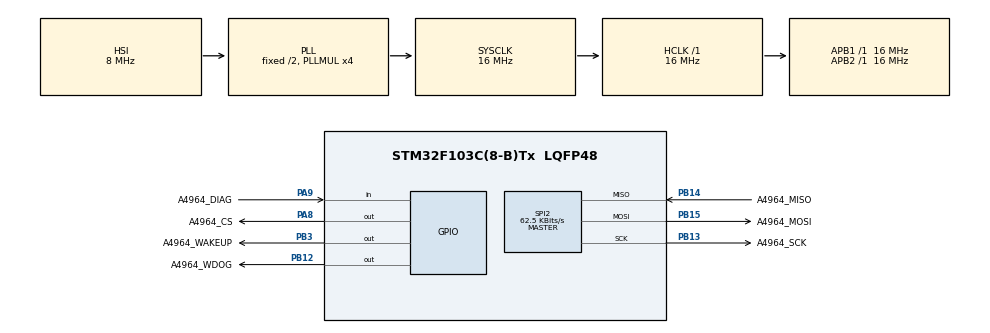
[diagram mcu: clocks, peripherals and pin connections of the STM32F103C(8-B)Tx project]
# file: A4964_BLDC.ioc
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Mcu.Family=STM32F1
Mcu.Name=STM32F103C(8-B)Tx
Mcu.Package=LQFP48
NVIC.PriorityGroup=NVIC_PRIORITYGROUP_4
PA13.Mode=Serial_Wire
PA13.Signal=SYS_JTMS-SWDIO
PA14.Mode=Serial_Wire
PA14.Signal=SYS_JTCK-SWCLK
PA8.GPIO_Label=A4964_CS
PA8.Signal=GPIO_Output
PA9.GPIO_Label=A4964_DIAG
PA9.Signal=GPIO_Input
PB12.GPIO_Label=A4964_WDOG
PB12.Signal=GPIO_Output
PB13.GPIO_Label=A4964_SCK
PB13.Mode=Full_Duplex_Master
PB13.Signal=SPI2_SCK
PB14.GPIO_Label=A4964_MISO
PB14.GPIO_PuPd=GPIO_PULLUP
PB14.Mode=Full_Duplex_Master
PB14.Signal=SPI2_MISO
PB15.GPIO_Label=A4964_MOSI
PB15.Mode=Full_Duplex_Master
PB15.Signal=SPI2_MOSI
PB3.GPIO_Label=A4964_WAKEUP
PB3.Signal=GPIO_Output
ProjectManager.HeapSize=0x200
ProjectManager.StackSize=0x400
ProjectManager.TargetToolchain=STM32CubeIDE
RCC.AHBFreq_Value=16000000
RCC.APB1Freq_Value=16000000
RCC.APB1TimFreq_Value=16000000
RCC.APB2Freq_Value=16000000
RCC.APB2TimFreq_Value=16000000
RCC.HCLKFreq_Value=16000000
RCC.PLLMUL=RCC_PLL_MUL4
RCC.SYSCLKFreq_VALUE=16000000
RCC.SYSCLKSource=RCC_SYSCLKSOURCE_PLLCLK
RCC.USBFreq_Value=16000000
SPI2.BaudRatePrescaler=SPI_BAUDRATEPRESCALER_256
SPI2.CLKPhase=SPI_PHASE_2EDGE
SPI2.CLKPolarity=SPI_POLARITY_HIGH
SPI2.CRCCalculation=SPI_CRCCALCULATION_DISABLE
SPI2.CalculateBaudRate=62.5 KBits/s
SPI2.DataSize=SPI_DATASIZE_16BIT
SPI2.Direction=SPI_DIRECTION_2LINES
SPI2.Mode=SPI_MODE_MASTER
SPI2.VirtualType=VM_MASTER
board=custom

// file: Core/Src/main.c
/* USER CODE BEGIN Header */
/**
  ******************************************************************************
  * @file           : main.c
  * @brief          : Main program body
  ******************************************************************************
  * @attention
  *
  * Copyright (c) 2025 STMicroelectronics.
  * All rights reserved.
  *
  * This software is licensed under terms that can be found in the LICENSE file
  * in the root directory of this software component.
  * If no LICENSE file comes with this software, it is provided AS-IS.
  *
  ******************************************************************************
  */
/* USER CODE END Header */
#include "main.h"

/* USER CODE BEGIN Includes */

#include "A4964.h"
/* USER CODE END Includes */

SPI_HandleTypeDef hspi2;

/* USER CODE BEGIN PV */
uint32_t rbs_diagnostic;
uint32_t rbs_motor_speed;
uint32_t rbs_current;
uint32_t rbs_voltage;
uint32_t rbs_temperature;
uint32_t rbs_demand_input;
uint32_t rbs_peak_duty;
uint32_t rbs_phase_adv;
/* USER CODE END PV */

void SystemClock_Config(void);
static void MX_GPIO_Init(void);
static void MX_SPI2_Init(void);

/* USER CODE BEGIN 0 */

// Definition of the 29:Readback Select registers as a complete write command.
#define REG_RBS_AMP ((uint16_t) 0b1110110000000101)   // RBS[2:0] [ 010 ] Avr. supply current
#define REG_RBS_VOLT ((uint16_t)0b1110110000000110) // RBS[2:0] [ 011 ] Supply Voltage
#define REG_RBS_TEMP ((uint16_t) 0b1110110000001001)  // RBS[2:0] [ 100 ] Chip temperatute
#define REG_RBS_APADV ((uint16_t) 0b1110110000001110)  // RBS[2:0] [ 111 ] Applied phase advance
#define REG_RBS_MSPEED ((uint16_t) 0b1110110000000011)  // RSB[2:0] [ 001 ] Motor speed
// Definition of the 25: System register, the OPM 1 for the 'Stand-alone with SPI'
#define REG_OPM_1 ((uint16_t) 0b1100101001000000)  // REG_25_SYS_OPM
// Definition of the 31: Read Only regiter
#define REG_RD_ONLY ((uint16_t) 0b1111100000000000) // First 15-11 bits are adress 10-0 value in bin
#define REG_RBS0_DIAG ((uint16_t) 0b1110110000000001)  //Definitioin of the Redback Select REG for DIAG output

// ------------VARIABLES------------
// rdng stays for "reading value"

uint16_t reg28;
uint16_t rdng_amp;
uint16_t rdng_volt;
uint16_t rdng_temp;
uint16_t rdng_apadv;
uint16_t rdng_mspeed;
uint16_t rdng_diag;

// ____________VARIABLES END____________

void voltage(){
  uint16_t sendData = REG_RBS_VOLT;
  uint16_t rvData = 0;

  HAL_GPIO_WritePin(A4964_CS_GPIO_Port, A4964_CS_Pin, GPIO_PIN_RESET);
  HAL_SPI_TransmitReceive(&hspi2, (uint8_t*)&sendData, (uint8_t*)rvData, 1, HAL_MAX_DELAY);
  HAL_GPIO_WritePin(A4964_CS_GPIO_Port, A4964_CS_Pin, GPIO_PIN_SET);

  HAL_Delay(2);
  sendData = REG_RD_ONLY;
  rvData = 0;

  HAL_GPIO_WritePin(A4964_CS_GPIO_Port, A4964_CS_Pin, GPIO_PIN_RESET);
  HAL_SPI_TransmitReceive(&hspi2, (uint8_t*)&sendData, (uint8_t*)rvData, 1, HAL_MAX_DELAY);
  HAL_GPIO_WritePin(A4964_CS_GPIO_Port, A4964_CS_Pin, GPIO_PIN_SET);

}

void temperature(){
  uint16_t sendData = REG_RBS_TEMP;
  uint16_t rvData = 0;

  HAL_GPIO_WritePin(A4964_CS_GPIO_Port, A4964_CS_Pin, GPIO_PIN_RESET);
  HAL_SPI_TransmitReceive(&hspi2, (uint8_t*)&sendData, (uint8_t*)rvData, 1, HAL_MAX_DELAY);
  HAL_GPIO_WritePin(A4964_CS_GPIO_Port, A4964_CS_Pin, GPIO_PIN_SET);

  HAL_Delay(2);
  sendData = REG_RD_ONLY;
  rvData = 0;

  HAL_GPIO_WritePin(A4964_CS_GPIO_Port, A4964_CS_Pin, GPIO_PIN_RESET);
  HAL_SPI_TransmitReceive(&hspi2, (uint8_t*)&sendData, (uint8_t*)rvData, 1, HAL_MAX_DELAY);
  HAL_GPIO_WritePin(A4964_CS_GPIO_Port, A4964_CS_Pin, GPIO_PIN_SET);

}

void applied_phase_advance(){
// // This function prints out temperature value in serial
//   SPI.beginTransaction(SPISettings(SPI_SPEED, MSBFIRST, SPI_MODE3)); // Start SPI dialog with settings for A4964
//   digitalWrite(PIN_CS, LOW);
//   SPI.transfer16(REG_RBS_APADV);  // Write the RBS in temperature rading mode
//   digitalWrite(PIN_CS, HIGH);

//   HAL_Delay(2);

//   SPI.beginTransaction(SPISettings(SPI_SPEED, MSBFIRST, SPI_MODE3)); // Start SPI dialog with settings for A4964
//   digitalWrite(PIN_CS, LOW);
//   rdng_apadv = SPI.transfer16(REG_RD_ONLY);  // Read the register 31
//   digitalWrite(PIN_CS, HIGH);
}

void motor_speed(){
// // This function prints out motor speed value in serial
//   SPI.beginTransaction(SPISettings(SPI_SPEED, MSBFIRST, SPI_MODE3)); // Start SPI dialog with settings for A4964
//   digitalWrite(PIN_CS, LOW);
//   SPI.transfer16(REG_RBS_MSPEED);  // Write the RBS in temperature rading mode
//   digitalWrite(PIN_CS, HIGH);

//   HAL_Delay(2);

//   SPI.beginTransaction(SPISettings(SPI_SPEED, MSBFIRST, SPI_MODE3)); // Start SPI dialog with settings for A4964
//   digitalWrite(PIN_CS, LOW);
//   rdng_mspeed = SPI.transfer16(REG_RD_ONLY);  // Read the register 31
//   digitalWrite(PIN_CS, HIGH);
}

void diagnostics(){

  uint16_t sendData = REG_RBS0_DIAG;
  uint16_t rvData = 0;

  HAL_GPIO_WritePin(A4964_CS_GPIO_Port, A4964_CS_Pin, GPIO_PIN_RESET);
  HAL_SPI_TransmitReceive(&hspi2, (uint8_t*)&sendData, (uint8_t*)rvData, 1, HAL_MAX_DELAY);
  HAL_GPIO_WritePin(A4964_CS_GPIO_Port, A4964_CS_Pin, GPIO_PIN_SET);

  HAL_Delay(2);
  sendData = REG_RD_ONLY;
  rvData = 0;

  HAL_GPIO_WritePin(A4964_CS_GPIO_Port, A4964_CS_Pin, GPIO_PIN_RESET);
  HAL_SPI_TransmitReceive(&hspi2, (uint8_t*)&sendData, (uint8_t*)rvData, 1, HAL_MAX_DELAY);
  HAL_GPIO_WritePin(A4964_CS_GPIO_Port, A4964_CS_Pin, GPIO_PIN_SET);

}

void set_OPM_1(){

  uint16_t sendData = REG_OPM_1;
  uint16_t rvData = 0;

  HAL_GPIO_WritePin(A4964_CS_GPIO_Port, A4964_CS_Pin, GPIO_PIN_RESET);
  HAL_SPI_TransmitReceive(&hspi2, (uint8_t*)&sendData, (uint8_t*)rvData, 1, HAL_MAX_DELAY);
  HAL_GPIO_WritePin(A4964_CS_GPIO_Port, A4964_CS_Pin, GPIO_PIN_SET);

}

void loop() {
  set_OPM_1();
//  diagnostics();
}
/* USER CODE END 0 */

int main(void)
{

  /* MCU Configuration--------------------------------------------------------*/

  /* Reset of all peripherals, Initializes the Flash interface and the Systick. */
  HAL_Init();

  /* Configure the system clock */
  SystemClock_Config();

  /* Initialize all configured peripherals */
  MX_GPIO_Init();
  MX_SPI2_Init();
  /* USER CODE BEGIN 2 */
  HAL_GPIO_WritePin(A4964_WAKEUP_GPIO_Port, A4964_WAKEUP_Pin, GPIO_PIN_RESET);
  HAL_Delay(500);

  HAL_GPIO_WritePin(A4964_WAKEUP_GPIO_Port, A4964_WAKEUP_Pin, GPIO_PIN_SET);
  HAL_Delay(20);
  A4964_init2();
  HAL_Delay(500);
  configRUN(1);
  A4964_ReadAllRegs();
  A4964_Demand_Input (1000);
  configDIR(1);
  /* USER CODE END 2 */

  /* Infinite loop */
  while (1)
  {

    /* USER CODE BEGIN 3 */
        // read all parameter
        // loop();
//        rdng_amp = A4964_ReadBack_Select(RBS_CURRENT);
//        rdng_volt = A4964_ReadBack_Select(RBS_VOLTAGE);
//        rdng_temp = A4964_ReadBack_Select(RBS_TEMPERATURE);
        rdng_mspeed = A4964_ReadBack_Select(RBS_MOTOR_SPEED);
//        rdng_diag = A4964_ReadBack_Select(RBS_DIAGNOSTIC);
//        reg28 = A4964_ReadReg28();
        HAL_Delay(500); // 500 ms
  }
  /* USER CODE END 3 */
}

void SystemClock_Config(void)
{
  RCC_OscInitTypeDef RCC_OscInitStruct = {0};
  RCC_ClkInitTypeDef RCC_ClkInitStruct = {0};

  /** Initializes the RCC Oscillators according to the specified parameters
  * in the RCC_OscInitTypeDef structure.
  */
  RCC_OscInitStruct.OscillatorType = RCC_OSCILLATORTYPE_HSI;
  RCC_OscInitStruct.HSIState = RCC_HSI_ON;
  RCC_OscInitStruct.HSICalibrationValue = RCC_HSICALIBRATION_DEFAULT;
  RCC_OscInitStruct.PLL.PLLState = RCC_PLL_ON;
  RCC_OscInitStruct.PLL.PLLSource = RCC_PLLSOURCE_HSI_DIV2;
  RCC_OscInitStruct.PLL.PLLMUL = RCC_PLL_MUL4;
  if (HAL_RCC_OscConfig(&RCC_OscInitStruct) != HAL_OK)
  {
    Error_Handler();
  }

  /** Initializes the CPU, AHB and APB buses clocks
  */
  RCC_ClkInitStruct.ClockType = RCC_CLOCKTYPE_HCLK|RCC_CLOCKTYPE_SYSCLK
                              |RCC_CLOCKTYPE_PCLK1|RCC_CLOCKTYPE_PCLK2;
  RCC_ClkInitStruct.SYSCLKSource = RCC_SYSCLKSOURCE_PLLCLK;
  RCC_ClkInitStruct.AHBCLKDivider = RCC_SYSCLK_DIV1;
  RCC_ClkInitStruct.APB1CLKDivider = RCC_HCLK_DIV1;
  RCC_ClkInitStruct.APB2CLKDivider = RCC_HCLK_DIV1;

  if (HAL_RCC_ClockConfig(&RCC_ClkInitStruct, FLASH_LATENCY_0) != HAL_OK)
  {
    Error_Handler();
  }
}

static void MX_SPI2_Init(void)
{

  /* SPI2 parameter configuration*/
  hspi2.Instance = SPI2;
  hspi2.Init.Mode = SPI_MODE_MASTER;
  hspi2.Init.Direction = SPI_DIRECTION_2LINES;
  hspi2.Init.DataSize = SPI_DATASIZE_16BIT;
  hspi2.Init.CLKPolarity = SPI_POLARITY_HIGH;
  hspi2.Init.CLKPhase = SPI_PHASE_2EDGE;
  hspi2.Init.NSS = SPI_NSS_SOFT;
  hspi2.Init.BaudRatePrescaler = SPI_BAUDRATEPRESCALER_256;
  hspi2.Init.FirstBit = SPI_FIRSTBIT_MSB;
  hspi2.Init.TIMode = SPI_TIMODE_DISABLE;
  hspi2.Init.CRCCalculation = SPI_CRCCALCULATION_DISABLE;
  hspi2.Init.CRCPolynomial = 10;
  if (HAL_SPI_Init(&hspi2) != HAL_OK)
  {
    Error_Handler();
  }

}

static void MX_GPIO_Init(void)
{
  GPIO_InitTypeDef GPIO_InitStruct = {0};

  /* GPIO Ports Clock Enable */
  __HAL_RCC_GPIOB_CLK_ENABLE();
  __HAL_RCC_GPIOA_CLK_ENABLE();

  /*Configure GPIO pin Output Level */
  HAL_GPIO_WritePin(GPIOB, A4964_WDOG_Pin|A4964_WAKEUP_Pin, GPIO_PIN_RESET);

  /*Configure GPIO pin Output Level */
  HAL_GPIO_WritePin(A4964_CS_GPIO_Port, A4964_CS_Pin, GPIO_PIN_RESET);

  /*Configure GPIO pins : A4964_WDOG_Pin A4964_WAKEUP_Pin */
  GPIO_InitStruct.Pin = A4964_WDOG_Pin|A4964_WAKEUP_Pin;
  GPIO_InitStruct.Mode = GPIO_MODE_OUTPUT_PP;
  GPIO_InitStruct.Pull = GPIO_NOPULL;
  GPIO_InitStruct.Speed = GPIO_SPEED_FREQ_LOW;
  HAL_GPIO_Init(GPIOB, &GPIO_InitStruct);

  /*Configure GPIO pin : A4964_CS_Pin */
  GPIO_InitStruct.Pin = A4964_CS_Pin;
  GPIO_InitStruct.Mode = GPIO_MODE_OUTPUT_PP;
  GPIO_InitStruct.Pull = GPIO_NOPULL;
  GPIO_InitStruct.Speed = GPIO_SPEED_FREQ_LOW;
  HAL_GPIO_Init(A4964_CS_GPIO_Port, &GPIO_InitStruct);

  /*Configure GPIO pin : A4964_DIAG_Pin */
  GPIO_InitStruct.Pin = A4964_DIAG_Pin;
  GPIO_InitStruct.Mode = GPIO_MODE_INPUT;
  GPIO_InitStruct.Pull = GPIO_NOPULL;
  HAL_GPIO_Init(A4964_DIAG_GPIO_Port, &GPIO_InitStruct);

}

/* USER CODE BEGIN 4 */
uint16_t SPI_Exchange_Byte(uint16_t data)
{
    uint16_t rx;
    uint16_t tx = data;
    HAL_SPI_TransmitReceive(&hspi2, (uint8_t*)&tx, (uint8_t*)&rx, 1, HAL_MAX_DELAY);
    return rx;
}
/* USER CODE END 4 */

void Error_Handler(void)
{
  __disable_irq();
  while (1)
  {
  }
}
